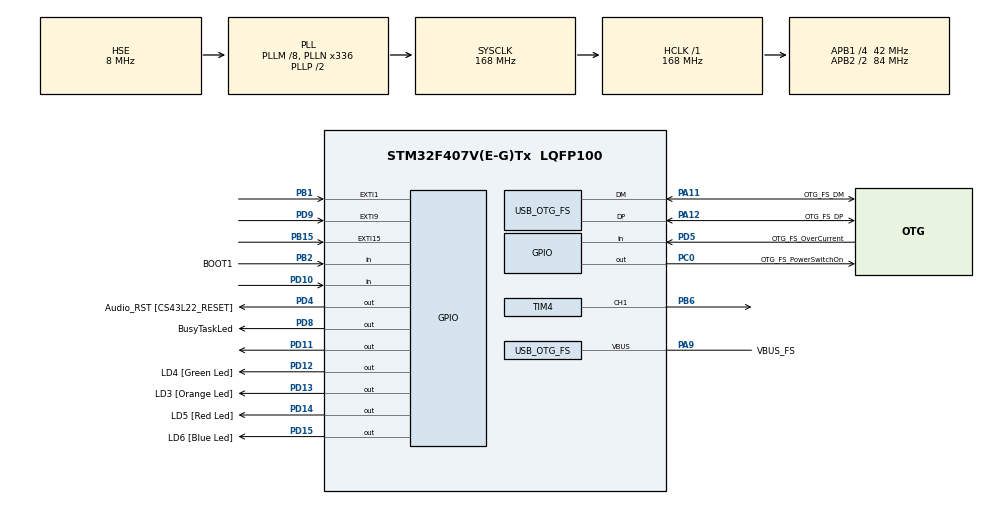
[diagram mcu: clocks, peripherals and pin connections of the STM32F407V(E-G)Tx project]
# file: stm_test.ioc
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FREERTOS.Tasks01=defaultTask,24,128,StartDefaultTask,Default,NULL,Dynamic,NULL,NULL;LedTask1,8,128,StartLedTask1,Default,NULL,Dynamic,NULL,NULL;LedTask2,8,128,StartLedTask2,Default,NULL,Dynamic,NULL,NULL;SendTask,40,128,StartSendTask,Default,NULL,Dynamic,NULL,NULL;BusyTask,8,128,StartBusyTask,Default,NULL,Dynamic,NULL,NULL;UsbSerialTask,8,128,StartUsbSerialTask,Default,NULL,Dynamic,NULL,NULL;StartTask,24,128,StartStartTask,Default,NULL,Dynamic,NULL,NULL
FREERTOS.configGENERATE_RUN_TIME_STATS=1
FREERTOS.configRECORD_STACK_HIGH_ADDRESS=1
FREERTOS.configUSE_NEWLIB_REENTRANT=1
FREERTOS.configUSE_STATS_FORMATTING_FUNCTIONS=1
Mcu.Family=STM32F4
Mcu.Name=STM32F407V(E-G)Tx
Mcu.Package=LQFP100
NVIC.EXTI15_10_IRQn=true\:5\:0\:false\:false\:true\:true\:true\:true\:true
NVIC.EXTI1_IRQn=true\:5\:0\:false\:false\:true\:true\:true\:true\:true
NVIC.EXTI9_5_IRQn=true\:5\:0\:false\:false\:true\:true\:true\:true\:true
NVIC.OTG_FS_IRQn=true\:5\:0\:false\:false\:true\:true\:false\:true\:true
NVIC.PriorityGroup=NVIC_PRIORITYGROUP_4
NVIC.TIM2_IRQn=true\:15\:0\:false\:false\:true\:false\:false\:true\:true
NVIC.TIM3_IRQn=true\:5\:0\:false\:false\:true\:true\:true\:true\:true
NVIC.TIM4_IRQn=true\:5\:0\:false\:false\:true\:true\:true\:true\:true
NVIC.TIM6_DAC_IRQn=true\:5\:0\:false\:false\:true\:true\:true\:true\:true
NVIC.TimeBase=TIM2_IRQn
NVIC.TimeBaseIP=TIM2
PA0-WKUP.Mode=SYS_WakeUp0
PA0-WKUP.Signal=SYS_WKUP
PA10.GPIO_Label=OTG_FS_ID
PA10.GPIO_Mode=GPIO_MODE_AF_PP
PA10.GPIO_PuPd=GPIO_NOPULL
PA10.GPIO_Speed=GPIO_SPEED_FREQ_LOW
PA10.Signal=USB_OTG_FS_ID
PA11.GPIO_Label=OTG_FS_DM
PA11.GPIO_Mode=GPIO_MODE_AF_PP
PA11.GPIO_PuPd=GPIO_NOPULL
PA11.GPIO_Speed=GPIO_SPEED_FREQ_LOW
PA11.Mode=Device_Only
PA11.Signal=USB_OTG_FS_DM
PA12.GPIO_Label=OTG_FS_DP
PA12.GPIO_Mode=GPIO_MODE_AF_PP
PA12.GPIO_PuPd=GPIO_NOPULL
PA12.GPIO_Speed=GPIO_SPEED_FREQ_LOW
PA12.Mode=Device_Only
PA12.Signal=USB_OTG_FS_DP
PA13.GPIO_Label=SWDIO
PA13.Mode=Trace_Asynchronous_SW
PA13.Signal=SYS_JTMS-SWDIO
PA14.GPIO_Label=SWCLK
PA14.Mode=Trace_Asynchronous_SW
PA14.Signal=SYS_JTCK-SWCLK
PA4.GPIO_Label=I2S3_WS [CS43L22_LRCK]
PA4.GPIO_Mode=GPIO_MODE_AF_PP
PA4.GPIO_PuPd=GPIO_NOPULL
PA4.GPIO_Speed=GPIO_SPEED_FREQ_LOW
PA4.Signal=I2S3_WS
PA5.GPIO_Label=SPI1_SCK [LIS302DL_SCL/SPC]
PA5.GPIO_Mode=GPIO_MODE_AF_PP
PA5.GPIO_PuPd=GPIO_NOPULL
PA5.GPIO_Speed=GPIO_SPEED_FREQ_LOW
PA5.Signal=SPI1_SCK
PA6.GPIO_Label=SPI1_MISO [LIS302DL_SDO]
PA6.GPIO_Mode=GPIO_MODE_AF_PP
PA6.GPIO_PuPd=GPIO_NOPULL
PA6.GPIO_Speed=GPIO_SPEED_FREQ_LOW
PA6.Signal=SPI1_MISO
PA7.GPIO_Label=SPI1_MOSI [LIS302DL_SDA/SDI/SDO]
PA7.GPIO_Mode=GPIO_MODE_AF_PP
PA7.GPIO_PuPd=GPIO_NOPULL
PA7.GPIO_Speed=GPIO_SPEED_FREQ_LOW
PA7.Signal=SPI1_MOSI
PA9.GPIO_Label=VBUS_FS
PA9.GPIO_Mode=GPIO_MODE_INPUT
PA9.GPIO_PuPd=GPIO_NOPULL
PA9.Mode=Activate_VBUS
PA9.Signal=USB_OTG_FS_VBUS
PB1.Signal=GPXTI1
PB10.GPIO_Label=CLK_IN [MP45DT02_CLK]
PB10.GPIO_Mode=GPIO_MODE_AF_PP
PB10.GPIO_PuPd=GPIO_NOPULL
PB10.GPIO_Speed=GPIO_SPEED_FREQ_LOW
PB10.Signal=I2S2_CK
PB15.GPIO_PuPd=GPIO_PULLDOWN
PB15.Signal=GPXTI15
PB2.GPIO_Label=BOOT1
PB2.GPIO_Mode=GPIO_MODE_INPUT
PB2.GPIO_PuPd=GPIO_NOPULL
PB2.Signal=GPIO_Input
PB3.GPIO_Label=SWO
PB3.Mode=Trace_Asynchronous_SW
PB3.Signal=SYS_JTDO-SWO
PB6.Signal=S_TIM4_CH1
PB9.GPIO_Label=Audio_SDA [CS43L22_SDA]
PB9.GPIO_Mode=GPIO_MODE_AF_OD
PB9.GPIO_Pu=GPIO_PULLUP
PB9.GPIO_PuPd=GPIO_NOPULL
PB9.GPIO_Speed=GPIO_SPEED_FREQ_LOW
PB9.Signal=I2C1_SDA
PC0.GPIO_Label=OTG_FS_PowerSwitchOn
PC0.GPIO_PuPd=GPIO_NOPULL
PC0.GPIO_Speed=GPIO_SPEED_FREQ_LOW
PC0.PinState=GPIO_PIN_SET
PC0.Signal=GPIO_Output
PC10.GPIO_Label=I2S3_SCK [CS43L22_SCLK]
PC10.GPIO_Mode=GPIO_MODE_AF_PP
PC10.GPIO_PuPd=GPIO_NOPULL
PC10.GPIO_Speed=GPIO_SPEED_FREQ_LOW
PC10.Signal=I2S3_CK
PC12.GPIO_Label=I2S3_SD [CS43L22_SDIN]
PC12.GPIO_Mode=GPIO_MODE_AF_PP
PC12.GPIO_PuPd=GPIO_NOPULL
PC12.GPIO_Speed=GPIO_SPEED_FREQ_LOW
PC12.Signal=I2S3_SD
PC14-OSC32_IN.GPIO_Label=PC14-OSC32_IN
PC14-OSC32_IN.Mode=LSE-External-Oscillator
PC14-OSC32_IN.Signal=RCC_OSC32_IN
PC15-OSC32_OUT.GPIO_Label=PC15-OSC32_OUT
PC15-OSC32_OUT.Mode=LSE-External-Oscillator
PC15-OSC32_OUT.Signal=RCC_OSC32_OUT
PC3.GPIO_Label=PDM_OUT [MP45DT02_DOUT]
PC3.GPIO_Mode=GPIO_MODE_AF_PP
PC3.GPIO_PuPd=GPIO_NOPULL
PC3.GPIO_Speed=GPIO_SPEED_FREQ_LOW
PC3.Signal=I2S2_SD
PC7.GPIO_Label=I2S3_MCK [CS43L22_MCLK]
PC7.GPIO_Mode=GPIO_MODE_AF_PP
PC7.GPIO_PuPd=GPIO_NOPULL
PC7.GPIO_Speed=GPIO_SPEED_FREQ_LOW
PC7.Signal=I2S3_MCK
PD10.Signal=GPIO_Input
PD11.Signal=GPIO_Output
PD12.GPIO_Label=LD4 [Green Led]
PD12.GPIO_PuPd=GPIO_NOPULL
PD12.GPIO_Speed=GPIO_SPEED_FREQ_LOW
PD12.Signal=GPIO_Output
PD13.GPIO_Label=LD3 [Orange Led]
PD13.GPIO_PuPd=GPIO_NOPULL
PD13.GPIO_Speed=GPIO_SPEED_FREQ_LOW
PD13.Signal=GPIO_Output
PD14.GPIO_Label=LD5 [Red Led]
PD14.GPIO_PuPd=GPIO_NOPULL
PD14.GPIO_Speed=GPIO_SPEED_FREQ_LOW
PD14.Signal=GPIO_Output
PD15.GPIO_Label=LD6 [Blue Led]
PD15.GPIO_PuPd=GPIO_NOPULL
PD15.GPIO_Speed=GPIO_SPEED_FREQ_LOW
PD15.Signal=GPIO_Output
PD4.GPIO_Label=Audio_RST [CS43L22_RESET]
PD4.GPIO_PuPd=GPIO_NOPULL
PD4.GPIO_Speed=GPIO_SPEED_FREQ_LOW
PD4.Signal=GPIO_Output
PD5.GPIO_Label=OTG_FS_OverCurrent
PD5.GPIO_Mode=GPIO_MODE_INPUT
PD5.GPIO_PuPd=GPIO_NOPULL
PD5.Signal=GPIO_Input
PD8.GPIO_Label=BusyTaskLed
PD8.Signal=GPIO_Output
PD9.GPIO_ModeDefaultEXTI=GPIO_MODE_IT_RISING
PD9.GPIO_PuPd=GPIO_PULLDOWN
PD9.Signal=GPXTI9
PE3.Signal=SYS_TRACED0
PH0-OSC_IN.GPIO_Label=PH0-OSC_IN
PH0-OSC_IN.Mode=HSE-External-Oscillator
PH0-OSC_IN.Signal=RCC_OSC_IN
PH1-OSC_OUT.GPIO_Label=PH1-OSC_OUT
PH1-OSC_OUT.Mode=HSE-External-Oscillator
PH1-OSC_OUT.Signal=RCC_OSC_OUT
ProjectManager.HeapSize=0x200
ProjectManager.StackSize=0x400
ProjectManager.TargetToolchain=STM32CubeIDE
RCC.48MHZClocksFreq_Value=48000000
RCC.AHBFreq_Value=168000000
RCC.APB1CLKDivider=RCC_HCLK_DIV4
RCC.APB1Freq_Value=42000000
RCC.APB1TimFreq_Value=84000000
RCC.APB2CLKDivider=RCC_HCLK_DIV2
RCC.APB2Freq_Value=84000000
RCC.APB2TimFreq_Value=168000000
RCC.CortexFreq_Value=168000000
RCC.HCLKFreq_Value=168000000
RCC.HSE_VALUE=8000000
RCC.HSI_VALUE=16000000
RCC.PLLM=8
RCC.PLLN=336
RCC.PLLQ=7
RCC.SYSCLKFreq_VALUE=168000000
RCC.SYSCLKSource=RCC_SYSCLKSOURCE_PLLCLK
RCC.VCOOutputFreq_Value=336000000
SH.S_TIM4_CH1.0=TIM4_CH1,PWM Generation1 CH1
TIM3.Channel-Output\ Compare1\ No\ Output=TIM_CHANNEL_1
TIM3.Period=49999
TIM3.Prescaler=41
TIM4.Channel-PWM\ Generation1\ CH1=TIM_CHANNEL_1
TIM4.CounterMode=TIM_COUNTERMODE_UP
TIM4.OCFastMode_PWM-PWM\ Generation1\ CH1=TIM_OCFAST_ENABLE
TIM4.OCMode_PWM-PWM\ Generation1\ CH1=TIM_OCMODE_PWM1
TIM4.OCPolarity_1=TIM_OCPOLARITY_HIGH
TIM4.Period=99
TIM4.Prescaler=1679
TIM4.Pulse-PWM\ Generation1\ CH1=49
TIM4.TIM_MasterOutputTrigger=TIM_TRGO_RESET
TIM6.Period=99
TIM6.Prescaler=83
USB_DEVICE.APP_RX_DATA_SIZE-CDC_FS=4
USB_DEVICE.APP_TX_DATA_SIZE-CDC_FS=4
USB_DEVICE.CLASS_NAME_FS=CDC
USB_DEVICE.VirtualMode-CDC_FS=Cdc
USB_DEVICE.VirtualModeFS=Cdc_FS
USB_OTG_FS.VirtualMode=Device_Only
VP_FREERTOS_VS_CMSIS_V2.Mode=CMSIS_V2
VP_SYS_VS_tim2.Mode=TIM2
VP_TIM3_VS_ClockSourceINT.Mode=Internal
VP_TIM3_VS_no_output1.Mode=Output Compare1 No Output
VP_TIM4_VS_ClockSourceINT.Mode=Internal
VP_TIM6_VS_ClockSourceINT.Mode=Enable_Timer
VP_USB_DEVICE_VS_USB_DEVICE_CDC_FS.Mode=CDC_FS
board=STM32F407G-DISC1

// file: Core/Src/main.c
/* USER CODE BEGIN Header */
/**
  ******************************************************************************
  * @file           : main.c
  * @brief          : Main program body
  ******************************************************************************
  * @attention
  *
  * Copyright (c) 2022 STMicroelectronics.
  * All rights reserved.
  *
  * This software is licensed under terms that can be found in the LICENSE file
  * in the root directory of this software component.
  * If no LICENSE file comes with this software, it is provided AS-IS.
  *
  ******************************************************************************
  */
/* USER CODE END Header */
#include "main.h"
#include "cmsis_os.h"
#include "tim.h"
#include "usb_device.h"
#include "gpio.h"

/* USER CODE BEGIN Includes */
#include "usercode.h"
/* USER CODE END Includes */

void SystemClock_Config(void);
void MX_FREERTOS_Init(void);

int main(void)
{

  /* MCU Configuration--------------------------------------------------------*/

  /* Reset of all peripherals, Initializes the Flash interface and the Systick. */
  HAL_Init();

  /* Configure the system clock */
  SystemClock_Config();

  /* Initialize all configured peripherals */
  MX_GPIO_Init();
  MX_TIM3_Init();
  MX_TIM6_Init();
  MX_TIM4_Init();
  /* USER CODE BEGIN 2 */

  vTraceEnable(TRC_START);

  /* USER CODE END 2 */

  /* Init scheduler */
  osKernelInitialize();  /* Call init function for freertos objects (in freertos.c) */
  MX_FREERTOS_Init();

  /* Start scheduler */
  osKernelStart();

  /* We should never get here as control is now taken by the scheduler */
  /* Infinite loop */
  while (1)
  {

  }
}

void SystemClock_Config(void)
{
  RCC_OscInitTypeDef RCC_OscInitStruct = {0};
  RCC_ClkInitTypeDef RCC_ClkInitStruct = {0};

  /** Configure the main internal regulator output voltage
  */
  __HAL_RCC_PWR_CLK_ENABLE();
  __HAL_PWR_VOLTAGESCALING_CONFIG(PWR_REGULATOR_VOLTAGE_SCALE1);

  /** Initializes the RCC Oscillators according to the specified parameters
  * in the RCC_OscInitTypeDef structure.
  */
  RCC_OscInitStruct.OscillatorType = RCC_OSCILLATORTYPE_HSE;
  RCC_OscInitStruct.HSEState = RCC_HSE_ON;
  RCC_OscInitStruct.PLL.PLLState = RCC_PLL_ON;
  RCC_OscInitStruct.PLL.PLLSource = RCC_PLLSOURCE_HSE;
  RCC_OscInitStruct.PLL.PLLM = 8;
  RCC_OscInitStruct.PLL.PLLN = 336;
  RCC_OscInitStruct.PLL.PLLP = RCC_PLLP_DIV2;
  RCC_OscInitStruct.PLL.PLLQ = 7;
  if (HAL_RCC_OscConfig(&RCC_OscInitStruct) != HAL_OK)
  {
    Error_Handler();
  }

  /** Initializes the CPU, AHB and APB buses clocks
  */
  RCC_ClkInitStruct.ClockType = RCC_CLOCKTYPE_HCLK|RCC_CLOCKTYPE_SYSCLK
                              |RCC_CLOCKTYPE_PCLK1|RCC_CLOCKTYPE_PCLK2;
  RCC_ClkInitStruct.SYSCLKSource = RCC_SYSCLKSOURCE_PLLCLK;
  RCC_ClkInitStruct.AHBCLKDivider = RCC_SYSCLK_DIV1;
  RCC_ClkInitStruct.APB1CLKDivider = RCC_HCLK_DIV4;
  RCC_ClkInitStruct.APB2CLKDivider = RCC_HCLK_DIV2;

  if (HAL_RCC_ClockConfig(&RCC_ClkInitStruct, FLASH_LATENCY_5) != HAL_OK)
  {
    Error_Handler();
  }
}

void HAL_TIM_PeriodElapsedCallback(TIM_HandleTypeDef *htim)
{
  if (htim->Instance == TIM2) {
    HAL_IncTick();
  }
}

void Error_Handler(void)
{
  __disable_irq();
  while (1)
  {
  }
}

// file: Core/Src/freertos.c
/* USER CODE BEGIN Header */
/**
  ******************************************************************************
  * File Name          : freertos.c
  * Description        : Code for freertos applications
  ******************************************************************************
  * @attention
  *
  * Copyright (c) 2022 STMicroelectronics.
  * All rights reserved.
  *
  * This software is licensed under terms that can be found in the LICENSE file
  * in the root directory of this software component.
  * If no LICENSE file comes with this software, it is provided AS-IS.
  *
  ******************************************************************************
  */
/* USER CODE END Header */

#include "FreeRTOS.h"
#include "task.h"
#include "main.h"
#include "cmsis_os.h"

/* USER CODE BEGIN Includes */
#include <stdio.h>
#include <tim.h>
#include <usercode.h>
extern timestamp interruptTimestamp;
/* USER CODE END Includes */

/* Definitions for defaultTask */
osThreadId_t defaultTaskHandle;
const osThreadAttr_t defaultTask_attributes = {
  .name = "defaultTask",
  .stack_size = 128 * 4,
  .priority = (osPriority_t) osPriorityNormal,
};
/* Definitions for LedTask1 */
osThreadId_t LedTask1Handle;
const osThreadAttr_t LedTask1_attributes = {
  .name = "LedTask1",
  .stack_size = 128 * 4,
  .priority = (osPriority_t) osPriorityLow,
};
/* Definitions for LedTask2 */
osThreadId_t LedTask2Handle;
const osThreadAttr_t LedTask2_attributes = {
  .name = "LedTask2",
  .stack_size = 128 * 4,
  .priority = (osPriority_t) osPriorityLow,
};
/* Definitions for SendTask */
osThreadId_t SendTaskHandle;
const osThreadAttr_t SendTask_attributes = {
  .name = "SendTask",
  .stack_size = 128 * 4,
  .priority = (osPriority_t) osPriorityHigh,
};
/* Definitions for BusyTask */
osThreadId_t BusyTaskHandle;
const osThreadAttr_t BusyTask_attributes = {
  .name = "BusyTask",
  .stack_size = 128 * 4,
  .priority = (osPriority_t) osPriorityLow,
};
/* Definitions for UsbSerialTask */
osThreadId_t UsbSerialTaskHandle;
const osThreadAttr_t UsbSerialTask_attributes = {
  .name = "UsbSerialTask",
  .stack_size = 128 * 4,
  .priority = (osPriority_t) osPriorityLow,
};
/* Definitions for StartTask */
osThreadId_t StartTaskHandle;
const osThreadAttr_t StartTask_attributes = {
  .name = "StartTask",
  .stack_size = 128 * 4,
  .priority = (osPriority_t) osPriorityNormal,
};

void StartDefaultTask(void *argument);
void StartLedTask1(void *argument);
void StartLedTask2(void *argument);
void StartSendTask(void *argument);
void StartBusyTask(void *argument);
void StartUsbSerialTask(void *argument);
void StartStartTask(void *argument);

extern void MX_USB_DEVICE_Init(void);
void MX_FREERTOS_Init(void); /* (MISRA C 2004 rule 8.1) */

/* Hook prototypes */
void configureTimerForRunTimeStats(void);
unsigned long getRunTimeCounterValue(void);

/* USER CODE BEGIN 1 */
/* Functions needed when configGENERATE_RUN_TIME_STATS is on */
__weak void configureTimerForRunTimeStats(void)
{
  setupTaskStatTimer();
}

__weak unsigned long getRunTimeCounterValue(void)
{
return taskStatTicks;
}
/* USER CODE END 1 */

void MX_FREERTOS_Init(void) {

  /* Create the thread(s) */
  /* creation of defaultTask */
  defaultTaskHandle = osThreadNew(StartDefaultTask, NULL, &defaultTask_attributes);

  /* creation of LedTask1 */
  LedTask1Handle = osThreadNew(StartLedTask1, NULL, &LedTask1_attributes);

  /* creation of LedTask2 */
  LedTask2Handle = osThreadNew(StartLedTask2, NULL, &LedTask2_attributes);

  /* creation of SendTask */
  SendTaskHandle = osThreadNew(StartSendTask, NULL, &SendTask_attributes);

  /* creation of BusyTask */
  BusyTaskHandle = osThreadNew(StartBusyTask, NULL, &BusyTask_attributes);

  /* creation of UsbSerialTask */
  UsbSerialTaskHandle = osThreadNew(StartUsbSerialTask, NULL, &UsbSerialTask_attributes);

  /* creation of StartTask */
  StartTaskHandle = osThreadNew(StartStartTask, NULL, &StartTask_attributes);

}

void StartDefaultTask(void *argument)
{
  /* init code for USB_DEVICE */
  MX_USB_DEVICE_Init();
  /* USER CODE BEGIN StartDefaultTask */
  osThreadSuspend(defaultTaskHandle);
  /* Infinite loop */
  for(;;)
  {
    osDelay(1);
  }
  /* USER CODE END StartDefaultTask */
}

void StartLedTask1(void *argument)
{
  /* USER CODE BEGIN StartLedTask1 */
  /* Infinite loop */
  ledTask1();
  /* USER CODE END StartLedTask1 */
}

void StartLedTask2(void *argument)
{
  /* USER CODE BEGIN StartLedTask2 */
  ledTask2();
  /* USER CODE END StartLedTask2 */
}

void StartSendTask(void *argument)
{
  /* USER CODE BEGIN StartSendTask */
  sendTask();
  /* USER CODE END StartSendTask */
}

void StartBusyTask(void *argument)
{
  /* USER CODE BEGIN StartBusyTask */
  busyTask();
  /* USER CODE END StartBusyTask */
}

void StartUsbSerialTask(void *argument)
{
  /* USER CODE BEGIN StartUsbSerialTask */
  /* Infinite loop */
  usbSerialTask();
  /* USER CODE END StartUsbSerialTask */
}

void StartStartTask(void *argument)
{
  /* USER CODE BEGIN StartStartTask */
  /* Infinite loop */
  startTask();
  /* USER CODE END StartStartTask */
}
